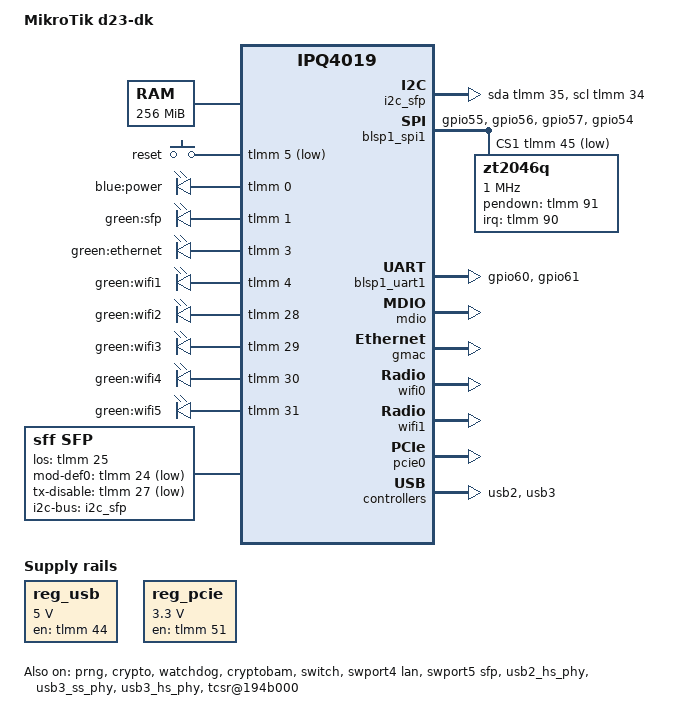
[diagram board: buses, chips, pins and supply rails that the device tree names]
// SPDX-License-Identifier: GPL-2.0-or-later OR MIT
/* Copyright (c) 2020, Robert Marko <robimarko@gmail.com> */

#include "qcom-ipq4019-mikrotik_nor.dtsi"
#include <dt-bindings/gpio/gpio.h>
#include <dt-bindings/input/input.h>
#include <dt-bindings/soc/qcom,tcsr.h>

/ {
	model = "MikroTik d23-dk";
	compatible = "mikrotik,d23-dk";

	memory {
		device_type = "memory";
		reg = <0x80000000 0x10000000>;
	};

	chosen {
		stdout-path = "serial0:115200n8";
	};

	aliases {
		led-boot = &led_power;
		led-failsafe = &led_power;
		led-running = &led_power;
		led-upgrade = &led_power;
	};

	soc {
		counter@4a1000 {
			compatible = "qcom,qca-gcnt";
			reg = <0x4a1000 0x4>;
		};

		tcsr@1949000 {
			compatible = "qcom,tcsr";
			reg = <0x1949000 0x100>;
			qcom,wifi_glb_cfg = <TCSR_WIFI_GLB_CFG>;
		};

		tcsr@194b000 {
			status = "okay";
			/* select hostmode */
			compatible = "qcom,tcsr";
			reg = <0x194b000 0x100>;
			qcom,usb-hsphy-mode-select = <TCSR_USB_HSPHY_HOST_MODE>;
		};

		ess_tcsr@1953000 {
			compatible = "qcom,tcsr";
			reg = <0x1953000 0x1000>;
			qcom,ess-interface-select = <TCSR_ESS_PSGMII>;
		};

		tcsr@1957000 {
			compatible = "qcom,tcsr";
			reg = <0x1957000 0x100>;
			qcom,wifi_noc_memtype_m0_m2 = <TCSR_WIFI_NOC_MEMTYPE_M0_M2>;
		};
	};

	keys {
		compatible = "gpio-keys";

		reset {
			label = "reset";
			gpios = <&tlmm 5 GPIO_ACTIVE_LOW>;
			linux,code = <KEY_RESTART>;
		};
	};

	leds {
		compatible = "gpio-leds";

		led_power: power {
			label = "blue:power";
			gpios = <&tlmm 0 GPIO_ACTIVE_HIGH>;
			default-state = "keep";
			panic-indicator;
		};

		sfp {
			label = "green:sfp";
			gpios = <&tlmm 1 GPIO_ACTIVE_HIGH>;
		};

		ethernet {
			label = "green:ethernet";
			gpios = <&tlmm 3 GPIO_ACTIVE_HIGH>;
		};

		wifi1 {
			label = "green:wifi1";
			gpios = <&tlmm 4 GPIO_ACTIVE_HIGH>;
		};

		wifi2 {
			label = "green:wifi2";
			gpios = <&tlmm 28 GPIO_ACTIVE_HIGH>;
		};

		wifi3 {
			label = "green:wifi3";
			gpios = <&tlmm 29 GPIO_ACTIVE_HIGH>;
		};

		wifi4 {
			label = "green:wifi4";
			gpios = <&tlmm 30 GPIO_ACTIVE_HIGH>;
		};

		wifi5 {
			label = "green:wifi5";
			gpios = <&tlmm 31 GPIO_ACTIVE_HIGH>;
		};
	};

	i2c_sfp: i2c-gpio {
		compatible = "i2c-gpio";
		sda-gpios = <&tlmm 35 (GPIO_ACTIVE_HIGH|GPIO_OPEN_DRAIN)>;
		scl-gpios = <&tlmm 34 (GPIO_ACTIVE_HIGH|GPIO_OPEN_DRAIN)>;
	};

	sfp: sfp {
		compatible = "sff,sfp";
		i2c-bus = <&i2c_sfp>;
		los-gpios = <&tlmm 25 GPIO_ACTIVE_HIGH>;
		mod-def0-gpios = <&tlmm 24 GPIO_ACTIVE_LOW>;
		tx-disable-gpios = <&tlmm 27 GPIO_ACTIVE_LOW>;
		maximum-power-milliwatt = <1000>;
	};

	reg_usb: regulator-usb-supply {
		compatible = "regulator-fixed";
		regulator-name = "usb-supply";
		regulator-min-microvolt = <5000000>;
		regulator-max-microvolt = <5000000>;
		enable-active-high;
		regulator-always-on;
		gpio = <&tlmm 44 GPIO_ACTIVE_HIGH>;
	};

	reg_pcie: regulator-pcie-supply {
		compatible = "regulator-fixed";
		regulator-name = "pcie-supply";
		regulator-min-microvolt = <3300000>;
		regulator-max-microvolt = <3300000>;
		enable-active-high;
		gpio = <&tlmm 51 GPIO_ACTIVE_HIGH>;
	};
};

&prng {
	status = "okay";
};

&crypto {
	status = "okay";
};

&watchdog {
	status = "okay";
};

&tlmm {
	serial_pins: serial_pinmux {
		mux {
			pins = "gpio60", "gpio61";
			function = "blsp_uart0";
			bias-disable;
		};
	};

	spi_0_pins: spi_0_pinmux {
		pin {
			function = "blsp_spi0";
			pins = "gpio55", "gpio56", "gpio57";
			drive-strength = <2>;
			bias-disable;
		};
		pin_cs {
			function = "gpio";
			pins = "gpio54";
			drive-strength = <2>;
			bias-disable;
			output-high;
		};
	};

	ts_cs_pin: ts_cs_pin_pinmux {
		pin_cs {
			function = "gpio";
			pins = "gpio45";
			bias-disable;
			output-high;
		};
	};

	mdio_pins: mdio_pinmux {
		mux_mdio {
			pins = "gpio6";
			function = "mdio";
			bias-pull-up;
		};
		mux_mdc {
			pins = "gpio7";
			function = "mdc";
			bias-pull-up;
		};
	};
};

&blsp_dma {
	status = "okay";
};

&blsp1_spi1 {
	status = "okay";
	pinctrl-0 = <&spi_0_pins>;
	pinctrl-names = "default";
	cs-gpios = <0>, <&tlmm 45 GPIO_ACTIVE_LOW>;

	zt2046q@1 {
		reg = <1>;
		compatible = "zt2046q", "ti,ads7846";
		spi-max-frequency = <1000000>;
		pinctrl-0 = <&ts_cs_pin>;
		pinctrl-names = "default";
		// fake gpio for interrupt and pendown-gpio
		interrupt-parent = <&tlmm>;
		interrupts = <90 IRQ_TYPE_NONE>;
		pendown-gpio = <&tlmm 91 GPIO_ACTIVE_HIGH>;
	};
};

&flash0 {
	// SPI NOR unstable faster
	spi-max-frequency = <24000000>;
};

&nor_partitions {
	partition@100000 {
		compatible = "mikrotik,minor";
		label = "firmware";
		reg = <0x100000 0xf00000>;
	};
};

&blsp1_uart1 {
	status = "okay";
	pinctrl-0 = <&serial_pins>;
	pinctrl-names = "default";
};

&cryptobam {
	status = "okay";
};

&mdio {
	status = "okay";

	/*
	pinctrl-0 = <&mdio_pins>;
	pinctrl-names = "default";
	*/
};

&ethphy3 {
	qcom,single-led-1000;
	qcom,single-led-100;
	qcom,single-led-10;
};

&ethphy4 {
	qcom,single-led-1000;
	qcom,single-led-100;
	qcom,single-led-10;
	sfp = <&sfp>;
};

&gmac {
	status = "okay";
};

&switch {
	status = "okay";
};

&swport4 {
	status = "okay";
	label = "lan";
};

&swport5 {
	status = "okay";
	label = "sfp";
};

&wifi0 {
	status = "okay";
	qcom,ath10k-calibration-variant = "MikroTik-d23-dk";
};

&wifi1 {
	status = "okay";
	qcom,ath10k-calibration-variant = "MikroTik-d23-dk";
};

&pcie0 {
	status = "okay";
	persts-gpio = <&tlmm 49 GPIO_ACTIVE_HIGH>;
	vdppe-3v3-supply = <&reg_pcie>;
};

&usb2 {
	status = "okay";
};

&usb2_hs_phy {
	status = "okay";
};

&usb3 {
	status = "okay";
};

&usb3_ss_phy {
	status = "okay";
};

&usb3_hs_phy {
	status = "okay";
};
